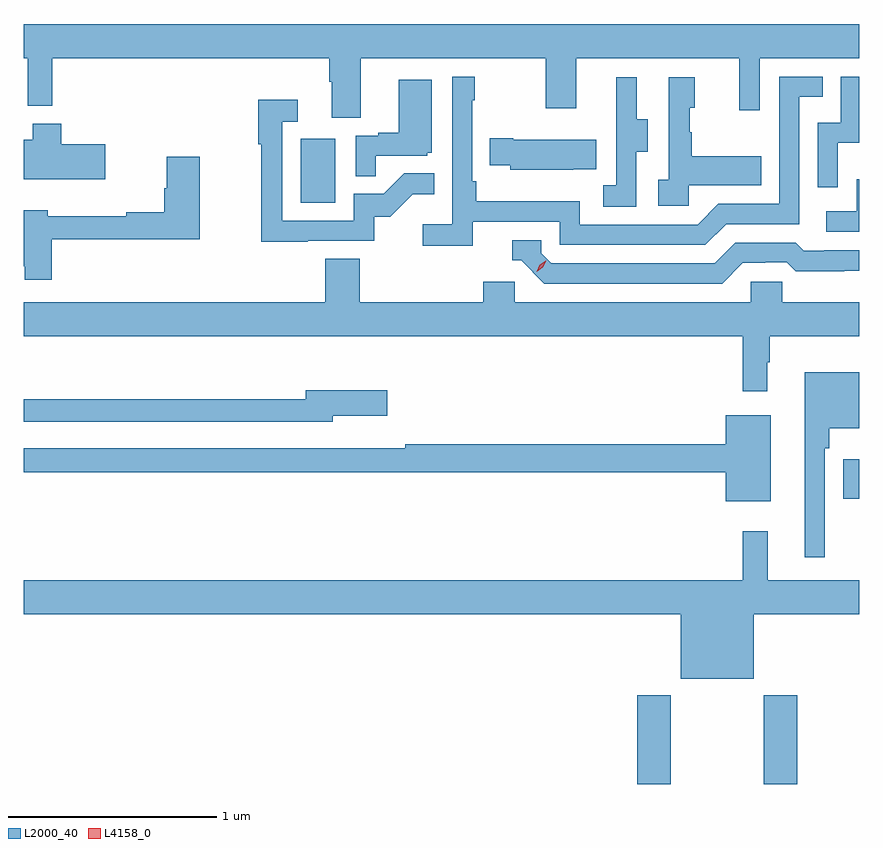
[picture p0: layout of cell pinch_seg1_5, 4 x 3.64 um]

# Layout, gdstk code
import gdstk
lib = gdstk.Library(unit=1e-6, precision=1e-09)
def R(c, l, rs):  # rectangles x0, y0, x1, y1
    for r in rs: c.add(gdstk.rectangle(r[:2], r[2:], *l))
def P(c, l, *ps):  # polygons
    for p in ps: c.add(gdstk.Polygon(p, *l))
L2000_40 = (2000, 40)
L4158_0 = (4158, 0)

pinch_seg1_5 = lib.new_cell('pinch_seg1_5')
R(pinch_seg1_5, L2000_40, [(1107.989,570.9,1108.149,571.324), (1108.594,570.9,1108.754,571.324), (1108.976,572.267,1109.051,572.455), (1106.378,573.684,1106.542,573.991)])
P(pinch_seg1_5, L2000_40, [(1106.665,574.376),(1107.55,574.376),(1107.55,574.137),(1107.697,574.137),(1107.697,574.376),(1108.478,574.376),(1108.478,574.128),(1108.575,574.128),(1108.575,574.376),(1109.051,574.376),(1109.051,574.54),(1105.051,574.54),(1105.051,574.376),(1105.07,574.376),(1105.07,574.148),(1105.187,574.148),(1105.187,574.376),(1106.513,574.376),(1106.513,574.264),(1106.525,574.264),(1106.525,574.09),(1106.665,574.09)],
  [(1107.2,573.594),(1107.618,573.594),(1107.618,573.483),(1108.315,573.483),(1108.414,573.582),(1108.764,573.582),(1108.764,574.191),(1108.877,574.191),(1108.877,574.287),(1108.668,574.287),(1108.668,573.678),(1108.377,573.678),(1108.278,573.579),(1107.714,573.579),(1107.714,573.691),(1107.218,573.691),(1107.218,573.787),(1107.198,573.787),(1107.198,574.175),(1107.211,574.175),(1107.211,574.288),(1107.102,574.288),(1107.102,573.58),(1106.961,573.58),(1106.961,573.478),(1107.2,573.478)],
  [(1108.95,573.971),(1109.051,573.971),(1109.051,574.287),(1108.962,574.287),(1108.962,574.068),(1108.854,574.068),(1108.854,573.759),(1108.95,573.759)],
  [(1108.236,573.767),(1108.583,573.767),(1108.583,573.907),(1108.249,573.907),(1108.249,574.022),(1108.239,574.022),(1108.239,574.14),(1108.264,574.14),(1108.264,574.285),(1108.14,574.285),(1108.14,573.794),(1108.089,573.794),(1108.089,573.669),(1108.236,573.669)],
  [(1107.984,573.928),(1108.039,573.928),(1108.039,574.083),(1107.985,574.083),(1107.985,574.285),(1107.887,574.285),(1107.887,574.071),(1107.888,574.071),(1107.888,573.767),(1107.825,573.767),(1107.825,573.664),(1107.984,573.664)],
  [(1106.735,573.909),(1106.982,573.909),(1106.982,573.924),(1107.004,573.924),(1107.004,574.273),(1106.846,574.273),(1106.846,574.018),(1106.747,574.018),(1106.747,574.005),(1106.64,574.005),(1106.64,573.811),(1106.735,573.811)],
  [(1106.411,573.501),(1106.73,573.501),(1106.73,573.618),(1106.806,573.618),(1106.913,573.725),(1107.017,573.725),(1107.017,573.824),(1106.873,573.824),(1106.775,573.726),(1106.631,573.726),(1106.631,573.597),(1106.289,573.597),(1106.289,574.071),(1106.362,574.071),(1106.362,574.177),(1106.173,574.177),(1106.173,573.964),(1106.188,573.964),(1106.188,573.496),(1106.411,573.496)],
  [(1105.441,573.963),(1105.229,573.963),(1105.229,574.063),(1105.094,574.063),(1105.094,573.985),(1105.051,573.985),(1105.051,573.797),(1105.441,573.797)],
  [(1107.683,573.845),(1107.791,573.845),(1107.791,573.985),(1107.394,573.985),(1107.394,573.993),(1107.283,573.993),(1107.283,573.863),(1107.381,573.863),(1107.381,573.842),(1107.683,573.842)],
  [(1105.184,573.51),(1105.894,573.51),(1105.894,573.904),(1105.736,573.904),(1105.736,573.753),(1105.724,573.753),(1105.724,573.638),(1105.54,573.638),(1105.54,573.619),(1105.165,573.619),(1105.165,573.649),(1105.051,573.649),(1105.051,573.38),(1105.056,573.38),(1105.056,573.315),(1105.184,573.315)],
  [(1109.051,573.796),(1109.04,573.796),(1109.04,573.642),(1108.893,573.642),(1108.893,573.546),(1109.051,573.546)],
  [(1108.495,573.396),(1108.602,573.396),(1108.602,573.399),(1108.705,573.399),(1108.747,573.357),(1108.98,573.357),(1108.98,573.359),(1109.051,573.359),(1109.051,573.456),(1108.885,573.456),(1108.885,573.453),(1108.786,573.453),(1108.747,573.492),(1108.458,573.492),(1108.359,573.393),(1107.576,573.393),(1107.528,573.441),(1107.528,573.504),(1107.389,573.504),(1107.389,573.408),(1107.432,573.408),(1107.543,573.297),(1108.396,573.297)],
  [(1108.612,572.921),(1108.624,572.921),(1108.624,573.044),(1109.051,573.044),(1109.051,573.208),(1108.683,573.208),(1108.683,573.306),(1108.533,573.306),(1108.533,573.208),(1107.402,573.208),(1107.402,573.306),(1107.251,573.306),(1107.251,573.208),(1106.66,573.208),(1106.66,573.416),(1106.495,573.416),(1106.495,573.208),(1105.051,573.208),(1105.051,573.044),(1108.495,573.044),(1108.495,572.781),(1108.612,572.781)],
  [(1108.887,572.507),(1108.907,572.507),(1108.907,572.603),(1109.051,572.603),(1109.051,572.872),(1108.79,572.872),(1108.79,571.986),(1108.887,571.986)],
  [(1106.53,572.663),(1106.791,572.663),(1106.791,572.785),(1106.402,572.785),(1106.402,572.743),(1105.051,572.743),(1105.051,572.634),(1106.53,572.634)],
  [(1108.627,572.665),(1108.412,572.665),(1108.412,572.528),(1106.878,572.528),(1106.878,572.509),(1106.626,572.509),(1106.626,572.508),(1105.051,572.508),(1105.051,572.392),(1108.412,572.392),(1108.412,572.255),(1108.627,572.255)],
  [(1108.546,571.712),(1109.051,571.712),(1109.051,571.876),(1108.613,571.876),(1108.613,572.11),(1108.495,572.11),(1108.495,571.876),(1105.051,571.876),(1105.051,571.712),(1108.196,571.712),(1108.196,571.403),(1108.546,571.403)])
P(pinch_seg1_5, L4158_0, [(1107.506,573.354),(1107.506,573.354),(1107.521,573.387),(1107.551,573.407),(1107.552,573.407),(1107.552,573.407),(1107.536,573.374),(1107.506,573.354)])

lib.write_gds('pinch_seg1_5.gds')
